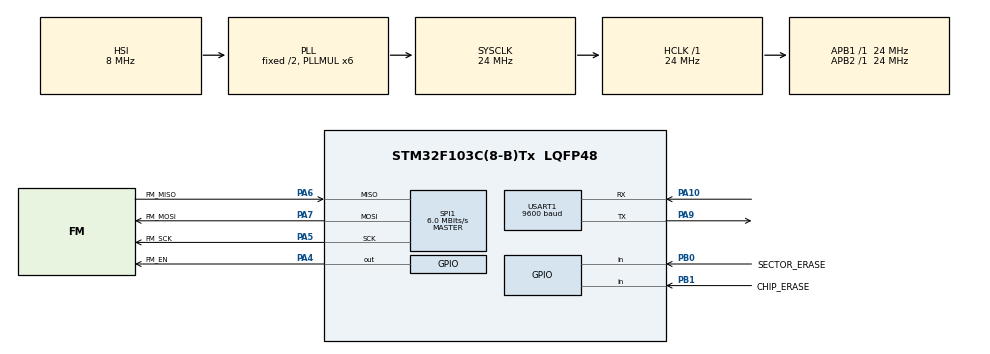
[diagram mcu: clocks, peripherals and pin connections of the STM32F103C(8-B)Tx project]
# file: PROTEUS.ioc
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Mcu.Family=STM32F1
Mcu.Name=STM32F103C(8-B)Tx
Mcu.Package=LQFP48
NVIC.PriorityGroup=NVIC_PRIORITYGROUP_4
PA10.Mode=Asynchronous
PA10.Signal=USART1_RX
PA13.Mode=Serial_Wire
PA13.Signal=SYS_JTMS-SWDIO
PA14.Mode=Serial_Wire
PA14.Signal=SYS_JTCK-SWCLK
PA4.GPIO_Label=FM_EN
PA4.GPIO_PuPd=GPIO_NOPULL
PA4.Signal=GPIO_Output
PA5.GPIO_Label=FM_SCK
PA5.Mode=Full_Duplex_Master
PA5.Signal=SPI1_SCK
PA6.GPIO_Label=FM_MISO
PA6.Mode=Full_Duplex_Master
PA6.Signal=SPI1_MISO
PA7.GPIO_Label=FM_MOSI
PA7.Mode=Full_Duplex_Master
PA7.Signal=SPI1_MOSI
PA9.Mode=Asynchronous
PA9.Signal=USART1_TX
PB0.GPIO_Label=SECTOR_ERASE
PB0.Signal=GPIO_Input
PB1.GPIO_Label=CHIP_ERASE
PB1.Signal=GPIO_Input
PC14-OSC32_IN.Mode=LSE-External-Oscillator
PC14-OSC32_IN.Signal=RCC_OSC32_IN
PC15-OSC32_OUT.Mode=LSE-External-Oscillator
PC15-OSC32_OUT.Signal=RCC_OSC32_OUT
PD0-OSC_IN.Mode=HSE-External-Oscillator
PD0-OSC_IN.Signal=RCC_OSC_IN
PD1-OSC_OUT.Mode=HSE-External-Oscillator
PD1-OSC_OUT.Signal=RCC_OSC_OUT
ProjectManager.HeapSize=0x200
ProjectManager.StackSize=0x400
ProjectManager.TargetToolchain=STM32CubeIDE
RCC.AHBFreq_Value=24000000
RCC.APB1Freq_Value=24000000
RCC.APB1TimFreq_Value=24000000
RCC.APB2Freq_Value=24000000
RCC.APB2TimFreq_Value=24000000
RCC.HCLKFreq_Value=24000000
RCC.PLLMUL=RCC_PLL_MUL6
RCC.SYSCLKFreq_VALUE=24000000
RCC.SYSCLKSource=RCC_SYSCLKSOURCE_PLLCLK
RCC.USBFreq_Value=24000000
SPI1.BaudRatePrescaler=SPI_BAUDRATEPRESCALER_4
SPI1.CalculateBaudRate=6.0 MBits/s
SPI1.Direction=SPI_DIRECTION_2LINES
SPI1.Mode=SPI_MODE_MASTER
SPI1.VirtualType=VM_MASTER
USART1.BaudRate=9600
USART1.VirtualMode=VM_ASYNC
board=custom

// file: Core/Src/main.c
/* USER CODE BEGIN Header */
/**
 ******************************************************************************
 * @file           : main.c
 * @brief          : Main program body
 ******************************************************************************
 * @attention
 *
 * <h2><center>&copy; Copyright (c) 2022 STMicroelectronics.
 * All rights reserved.</center></h2>
 *
 * This software component is licensed by ST under BSD 3-Clause license,
 * the "License"; You may not use this file except in compliance with the
 * License. You may obtain a copy of the License at:
 *                        opensource.org/licenses/BSD-3-Clause
 *
 ******************************************************************************
 */
/* USER CODE END Header */
#include "main.h"

/* USER CODE BEGIN Includes */
#include "FM.h"
#include "stdio.h"
#include "string.h"
/* USER CODE END Includes */

SPI_HandleTypeDef hspi1;

UART_HandleTypeDef huart1;

/* USER CODE BEGIN PV */

uint16_t DataSize = 500;

uint8_t buffer[250];
uint8_t FM_ID[2];
uint8_t FM_Read[500];
uint8_t FM_WriteData1[500];

uint8_t wpenprotect;		//WPEN pin
uint8_t wenprotect;		//WEN pin

uint32_t add1 = 0x00000000;
uint8_t register_status = 0;

int var = 0;
int var1 = 0;

/* USER CODE END PV */

void SystemClock_Config(void);
static void MX_GPIO_Init(void);
static void MX_SPI1_Init(void);
static void MX_USART1_UART_Init(void);

/* USER CODE BEGIN 0 */

void HAL_UART_ConvCpltCallback(UART_HandleTypeDef *huart) {

}
/* USER CODE END 0 */

int main(void) {
	/* USER CODE BEGIN 1 */
	int i;
	/*dummy data to be written into the flash memory*/

	/* USER CODE END 1 */

	/* MCU Configuration--------------------------------------------------------*/

	/* Reset of all peripherals, Initializes the Flash interface and the Systick. */
	HAL_Init();

	/* Configure the system clock */
	SystemClock_Config();

	/* Initialize all configured peripherals */
	MX_GPIO_Init();
	MX_SPI1_Init();
	MX_USART1_UART_Init();

	/* Infinite loop */
	/* USER CODE BEGIN WHILE */
	for (i = 0; i < DataSize; i++) {
			FM_WriteData1[i] = var;
			var++;
		}
	while (1) {
		/* USER CODE END WHILE */
		/* USER CODE BEGIN 3 */

		 /* @brief		functions set such that the respective memory operations are carried out by
		 * 				status of gpio pin
		 * 				the conditions can be changed accordingly */
		RegisterStatus *status = 0;
		R_STAT(status);
		wpenprotect = status->WPEN;
		wenprotect = status->WEN;
		sprintf((char*) buffer, "WPEN mode: %d \r\n WEN mode: %d \r\n", wpenprotect,
				wenprotect);
		HAL_UART_Transmit(&huart1, buffer, strlen((char*) buffer), 100);
		HAL_Delay(500);
		if ((HAL_GPIO_ReadPin(GPIOB, GPIO_PIN_1)) == 1) {
			ChipErase();
			HAL_Delay(100);
		}
		/* to read manufacture id of the flash memory*/
		else if (HAL_GPIO_ReadPin(GPIOB, GPIO_PIN_0) == 1) {
			FLASH_ID(FM_ID);
			memset((char*) buffer, '\0', sizeof(buffer));
			sprintf((char*) buffer, "\r\n MAN id :%x \r\ndevice id: %x \r\n",
					FM_ID[0],FM_ID[1]);
			HAL_UART_Transmit(&huart1, buffer, sizeof(buffer), 50);
		}
		/* to write large data to the corresonding address */
		else {
			PageWrite(add1, FM_WriteData1, DataSize);//pagewrite function prevents data overwrite
			HAL_Delay(100);
			memset(buffer, '\0', sizeof(buffer));
			memset(FM_Read, '\0', DataSize);
			BulkRead(add1, FM_Read, DataSize);
			HAL_Delay(100);
			for (i = 0; i < DataSize; i++) {
				sprintf((char*) buffer, "DATA: %x \r\n", FM_Read[i]);
				HAL_UART_Transmit(&huart1, buffer, strlen((char*) buffer), 100);
			}

			HAL_Delay(500);

		}
	}
	/* USER CODE END 3 */
}

void SystemClock_Config(void) {
	RCC_OscInitTypeDef RCC_OscInitStruct = { 0 };
	RCC_ClkInitTypeDef RCC_ClkInitStruct = { 0 };

	/** Initializes the RCC Oscillators according to the specified parameters
	 * in the RCC_OscInitTypeDef structure.
	 */
	RCC_OscInitStruct.OscillatorType = RCC_OSCILLATORTYPE_HSI;
	RCC_OscInitStruct.HSIState = RCC_HSI_ON;
	RCC_OscInitStruct.HSICalibrationValue = RCC_HSICALIBRATION_DEFAULT;
	RCC_OscInitStruct.PLL.PLLState = RCC_PLL_ON;
	RCC_OscInitStruct.PLL.PLLSource = RCC_PLLSOURCE_HSI_DIV2;
	RCC_OscInitStruct.PLL.PLLMUL = RCC_PLL_MUL6;
	if (HAL_RCC_OscConfig(&RCC_OscInitStruct) != HAL_OK) {
		Error_Handler();
	}
	/** Initializes the CPU, AHB and APB buses clocks
	 */
	RCC_ClkInitStruct.ClockType = RCC_CLOCKTYPE_HCLK | RCC_CLOCKTYPE_SYSCLK
			| RCC_CLOCKTYPE_PCLK1 | RCC_CLOCKTYPE_PCLK2;
	RCC_ClkInitStruct.SYSCLKSource = RCC_SYSCLKSOURCE_PLLCLK;
	RCC_ClkInitStruct.AHBCLKDivider = RCC_SYSCLK_DIV1;
	RCC_ClkInitStruct.APB1CLKDivider = RCC_HCLK_DIV1;
	RCC_ClkInitStruct.APB2CLKDivider = RCC_HCLK_DIV1;

	if (HAL_RCC_ClockConfig(&RCC_ClkInitStruct, FLASH_LATENCY_0) != HAL_OK) {
		Error_Handler();
	}
}

static void MX_SPI1_Init(void) {

	/* SPI1 parameter configuration*/
	hspi1.Instance = SPI1;
	hspi1.Init.Mode = SPI_MODE_MASTER;
	hspi1.Init.Direction = SPI_DIRECTION_2LINES;
	hspi1.Init.DataSize = SPI_DATASIZE_8BIT;
	hspi1.Init.CLKPolarity = SPI_POLARITY_LOW;
	hspi1.Init.CLKPhase = SPI_PHASE_1EDGE;
	hspi1.Init.NSS = SPI_NSS_SOFT;
	hspi1.Init.BaudRatePrescaler = SPI_BAUDRATEPRESCALER_4;
	hspi1.Init.FirstBit = SPI_FIRSTBIT_MSB;
	hspi1.Init.TIMode = SPI_TIMODE_DISABLE;
	hspi1.Init.CRCCalculation = SPI_CRCCALCULATION_DISABLE;
	hspi1.Init.CRCPolynomial = 10;
	if (HAL_SPI_Init(&hspi1) != HAL_OK) {
		Error_Handler();
	}

}

static void MX_USART1_UART_Init(void) {

	huart1.Instance = USART1;
	huart1.Init.BaudRate = 9600;
	huart1.Init.WordLength = UART_WORDLENGTH_8B;
	huart1.Init.StopBits = UART_STOPBITS_1;
	huart1.Init.Parity = UART_PARITY_NONE;
	huart1.Init.Mode = UART_MODE_TX_RX;
	huart1.Init.HwFlowCtl = UART_HWCONTROL_NONE;
	huart1.Init.OverSampling = UART_OVERSAMPLING_16;
	if (HAL_UART_Init(&huart1) != HAL_OK) {
		Error_Handler();
	}

}

static void MX_GPIO_Init(void) {
	GPIO_InitTypeDef GPIO_InitStruct = { 0 };

	/* GPIO Ports Clock Enable */
	__HAL_RCC_GPIOC_CLK_ENABLE();
	__HAL_RCC_GPIOD_CLK_ENABLE();
	__HAL_RCC_GPIOA_CLK_ENABLE();
	__HAL_RCC_GPIOB_CLK_ENABLE();

	/*Configure GPIO pin Output Level */
	HAL_GPIO_WritePin(FM_EN_GPIO_Port, FM_EN_Pin, GPIO_PIN_RESET);

	/*Configure GPIO pin : FM_EN_Pin */
	GPIO_InitStruct.Pin = FM_EN_Pin;
	GPIO_InitStruct.Mode = GPIO_MODE_OUTPUT_PP;
	GPIO_InitStruct.Pull = GPIO_NOPULL;
	GPIO_InitStruct.Speed = GPIO_SPEED_FREQ_LOW;
	HAL_GPIO_Init(FM_EN_GPIO_Port, &GPIO_InitStruct);

	/*Configure GPIO pins : SECTOR_ERASE_Pin CHIP_ERASE_Pin */
	GPIO_InitStruct.Pin = SECTOR_ERASE_Pin | CHIP_ERASE_Pin;
	GPIO_InitStruct.Mode = GPIO_MODE_INPUT;
	GPIO_InitStruct.Pull = GPIO_NOPULL;
	HAL_GPIO_Init(GPIOB, &GPIO_InitStruct);

}

void Error_Handler(void) {
	__disable_irq();
	while (1) {
	}
}

/************************ (C) COPYRIGHT STMicroelectronics *****END OF FILE****/
